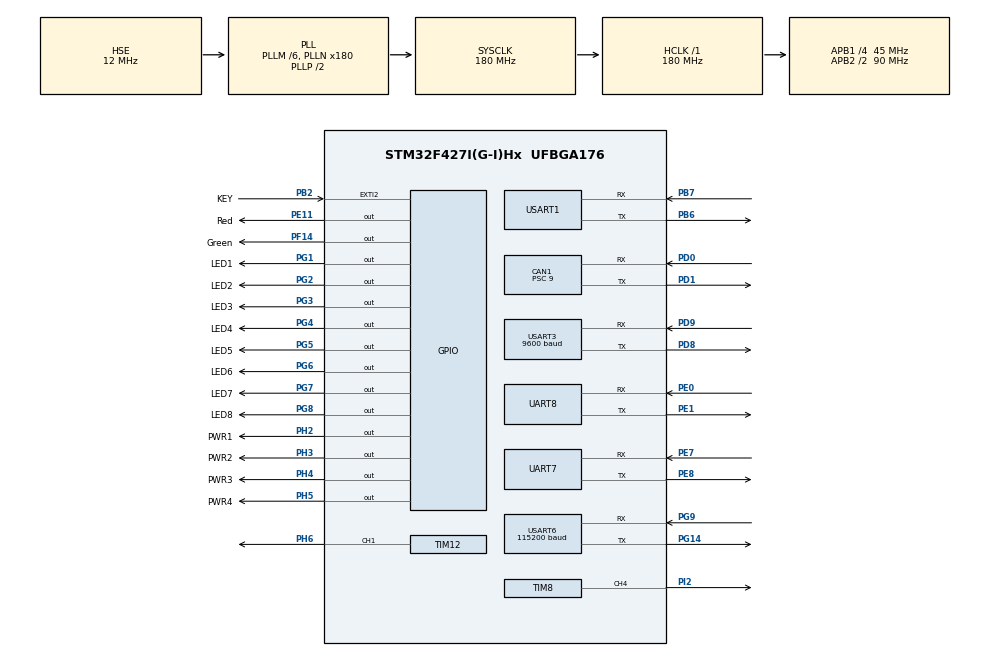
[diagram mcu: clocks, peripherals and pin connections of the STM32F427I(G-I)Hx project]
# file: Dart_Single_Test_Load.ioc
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CAN1.ABOM=ENABLE
CAN1.BS1=CAN_BS1_2TQ
CAN1.BS2=CAN_BS2_2TQ
CAN1.CalculateBaudRate=1000000
CAN1.CalculateTimeBit=1000
CAN1.CalculateTimeQuantum=200.0
CAN1.Prescaler=9
Dma.Request0=UART7_RX
Dma.Request1=UART7_TX
Dma.Request2=USART3_TX
Dma.Request3=USART6_RX
Dma.UART7_RX.0.Direction=DMA_PERIPH_TO_MEMORY
Dma.UART7_RX.0.FIFOMode=DMA_FIFOMODE_DISABLE
Dma.UART7_RX.0.Instance=DMA1_Stream3
Dma.UART7_RX.0.MemDataAlignment=DMA_MDATAALIGN_BYTE
Dma.UART7_RX.0.MemInc=DMA_MINC_ENABLE
Dma.UART7_RX.0.Mode=DMA_NORMAL
Dma.UART7_RX.0.PeriphDataAlignment=DMA_PDATAALIGN_BYTE
Dma.UART7_RX.0.PeriphInc=DMA_PINC_DISABLE
Dma.UART7_RX.0.Priority=DMA_PRIORITY_LOW
Dma.UART7_TX.1.Direction=DMA_MEMORY_TO_PERIPH
Dma.UART7_TX.1.FIFOMode=DMA_FIFOMODE_DISABLE
Dma.UART7_TX.1.Instance=DMA1_Stream1
Dma.UART7_TX.1.MemDataAlignment=DMA_MDATAALIGN_BYTE
Dma.UART7_TX.1.MemInc=DMA_MINC_ENABLE
Dma.UART7_TX.1.Mode=DMA_NORMAL
Dma.UART7_TX.1.PeriphDataAlignment=DMA_PDATAALIGN_BYTE
Dma.UART7_TX.1.PeriphInc=DMA_PINC_DISABLE
Dma.UART7_TX.1.Priority=DMA_PRIORITY_LOW
Dma.USART3_TX.2.Direction=DMA_MEMORY_TO_PERIPH
Dma.USART3_TX.2.FIFOMode=DMA_FIFOMODE_DISABLE
Dma.USART3_TX.2.Instance=DMA1_Stream4
Dma.USART3_TX.2.MemDataAlignment=DMA_MDATAALIGN_BYTE
Dma.USART3_TX.2.MemInc=DMA_MINC_ENABLE
Dma.USART3_TX.2.Mode=DMA_NORMAL
Dma.USART3_TX.2.PeriphDataAlignment=DMA_PDATAALIGN_BYTE
Dma.USART3_TX.2.PeriphInc=DMA_PINC_DISABLE
Dma.USART3_TX.2.Priority=DMA_PRIORITY_LOW
Dma.USART6_RX.3.Direction=DMA_PERIPH_TO_MEMORY
Dma.USART6_RX.3.FIFOMode=DMA_FIFOMODE_DISABLE
Dma.USART6_RX.3.Instance=DMA2_Stream1
Dma.USART6_RX.3.MemDataAlignment=DMA_MDATAALIGN_BYTE
Dma.USART6_RX.3.MemInc=DMA_MINC_ENABLE
Dma.USART6_RX.3.Mode=DMA_NORMAL
Dma.USART6_RX.3.PeriphDataAlignment=DMA_PDATAALIGN_BYTE
Dma.USART6_RX.3.PeriphInc=DMA_PINC_DISABLE
Dma.USART6_RX.3.Priority=DMA_PRIORITY_LOW
FREERTOS.Tasks01=defaultTask,24,128,StartDefaultTask,Default,NULL,Dynamic,NULL,NULL
FREERTOS.configENABLE_FPU=1
Mcu.Family=STM32F4
Mcu.Name=STM32F427I(G-I)Hx
Mcu.Package=UFBGA176
NVIC.CAN1_RX0_IRQn=true\:5\:0\:false\:false\:true\:true\:true\:true\:true
NVIC.CAN1_RX1_IRQn=true\:5\:0\:false\:false\:true\:true\:true\:true\:true
NVIC.CAN1_SCE_IRQn=true\:5\:0\:false\:false\:true\:true\:true\:true\:true
NVIC.CAN1_TX_IRQn=true\:5\:0\:false\:false\:true\:true\:true\:true\:true
NVIC.DMA1_Stream1_IRQn=true\:5\:0\:false\:false\:true\:true\:false\:true\:true
NVIC.DMA1_Stream3_IRQn=true\:5\:0\:false\:false\:true\:true\:false\:true\:true
NVIC.DMA1_Stream4_IRQn=true\:5\:0\:false\:false\:true\:true\:false\:true\:true
NVIC.DMA2_Stream1_IRQn=true\:5\:0\:false\:false\:true\:true\:false\:true\:true
NVIC.PriorityGroup=NVIC_PRIORITYGROUP_4
NVIC.TIM4_IRQn=true\:0\:0\:true\:false\:true\:false\:false\:true\:true
NVIC.TimeBase=TIM4_IRQn
NVIC.TimeBaseIP=TIM4
NVIC.UART7_IRQn=true\:5\:0\:false\:false\:true\:true\:true\:true\:true
NVIC.UART8_IRQn=true\:5\:0\:false\:false\:true\:true\:true\:true\:true
NVIC.USART3_IRQn=true\:5\:0\:false\:false\:true\:true\:true\:true\:true
NVIC.USART6_IRQn=true\:5\:0\:false\:false\:true\:true\:true\:true\:true
PA13.Mode=Serial_Wire
PA13.Signal=SYS_JTMS-SWDIO
PA14.Mode=Serial_Wire
PA14.Signal=SYS_JTCK-SWCLK
PB2/BOOT1.GPIO_Label=KEY
PB2/BOOT1.GPIO_ModeDefaultEXTI=GPIO_MODE_IT_RISING
PB2/BOOT1.GPIO_PuPd=GPIO_PULLDOWN
PB2/BOOT1.Signal=GPXTI2
PB6.Mode=Asynchronous
PB6.Signal=USART1_TX
PB7.Mode=Asynchronous
PB7.Signal=USART1_RX
PC14/OSC32_IN.Mode=LSE-External-Oscillator
PC14/OSC32_IN.Signal=RCC_OSC32_IN
PC15/OSC32_OUT.Mode=LSE-External-Oscillator
PC15/OSC32_OUT.Signal=RCC_OSC32_OUT
PD0.Mode=CAN_Activate
PD0.Signal=CAN1_RX
PD1.Mode=CAN_Activate
PD1.Signal=CAN1_TX
PD8.Mode=Asynchronous
PD8.Signal=USART3_TX
PD9.Mode=Asynchronous
PD9.Signal=USART3_RX
PE0.Mode=Asynchronous
PE0.Signal=UART8_RX
PE1.Mode=Asynchronous
PE1.Signal=UART8_TX
PE11.GPIO_Label=Red
PE11.GPIO_PuPd=GPIO_PULLDOWN
PE11.PinState=GPIO_PIN_SET
PE11.Signal=GPIO_Output
PE7.Mode=Asynchronous
PE7.Signal=UART7_RX
PE8.Mode=Asynchronous
PE8.Signal=UART7_TX
PF14.GPIO_Label=Green
PF14.GPIO_PuPd=GPIO_PULLDOWN
PF14.GPIO_Speed=GPIO_SPEED_FREQ_LOW
PF14.PinState=GPIO_PIN_SET
PF14.Signal=GPIO_Output
PG1.GPIO_Label=LED1
PG1.GPIO_PuPd=GPIO_PULLDOWN
PG1.PinState=GPIO_PIN_SET
PG1.Signal=GPIO_Output
PG14.Mode=Asynchronous
PG14.Signal=USART6_TX
PG2.GPIO_Label=LED2
PG2.GPIO_PuPd=GPIO_PULLDOWN
PG2.PinState=GPIO_PIN_SET
PG2.Signal=GPIO_Output
PG3.GPIO_Label=LED3
PG3.GPIO_PuPd=GPIO_PULLDOWN
PG3.PinState=GPIO_PIN_SET
PG3.Signal=GPIO_Output
PG4.GPIO_Label=LED4
PG4.GPIO_PuPd=GPIO_PULLDOWN
PG4.PinState=GPIO_PIN_SET
PG4.Signal=GPIO_Output
PG5.GPIO_Label=LED5
PG5.GPIO_PuPd=GPIO_PULLDOWN
PG5.PinState=GPIO_PIN_SET
PG5.Signal=GPIO_Output
PG6.GPIO_Label=LED6
PG6.GPIO_PuPd=GPIO_PULLDOWN
PG6.PinState=GPIO_PIN_SET
PG6.Signal=GPIO_Output
PG7.GPIO_Label=LED7
PG7.GPIO_PuPd=GPIO_PULLDOWN
PG7.PinState=GPIO_PIN_SET
PG7.Signal=GPIO_Output
PG8.GPIO_Label=LED8
PG8.GPIO_PuPd=GPIO_PULLDOWN
PG8.PinState=GPIO_PIN_SET
PG8.Signal=GPIO_Output
PG9.Mode=Asynchronous
PG9.Signal=USART6_RX
PH0/OSC_IN.Mode=HSE-External-Oscillator
PH0/OSC_IN.Signal=RCC_OSC_IN
PH1/OSC_OUT.Mode=HSE-External-Oscillator
PH1/OSC_OUT.Signal=RCC_OSC_OUT
PH2.GPIO_Label=PWR1
PH2.GPIO_ModeDefaultOutputPP=GPIO_MODE_OUTPUT_PP
PH2.GPIO_PuPd=GPIO_PULLDOWN
PH2.Signal=GPIO_Output
PH3.GPIO_Label=PWR2
PH3.GPIO_PuPd=GPIO_PULLDOWN
PH3.Signal=GPIO_Output
PH4.GPIO_Label=PWR3
PH4.GPIO_PuPd=GPIO_PULLDOWN
PH4.Signal=GPIO_Output
PH5.GPIO_Label=PWR4
PH5.GPIO_PuPd=GPIO_PULLDOWN
PH5.Signal=GPIO_Output
PH6.Signal=S_TIM12_CH1
PI2.Signal=S_TIM8_CH4
ProjectManager.HeapSize=0x200
ProjectManager.StackSize=0x400
ProjectManager.TargetToolchain=MDK-ARM V5.32
RCC.48MHZClocksFreq_Value=90000000
RCC.AHBFreq_Value=180000000
RCC.APB1CLKDivider=RCC_HCLK_DIV4
RCC.APB1Freq_Value=45000000
RCC.APB1TimFreq_Value=90000000
RCC.APB2CLKDivider=RCC_HCLK_DIV2
RCC.APB2Freq_Value=90000000
RCC.APB2TimFreq_Value=180000000
RCC.CortexFreq_Value=180000000
RCC.HCLKFreq_Value=180000000
RCC.HSE_VALUE=12000000
RCC.HSI_VALUE=16000000
RCC.PLLM=6
RCC.PLLN=180
RCC.PLLSourceVirtual=RCC_PLLSOURCE_HSE
RCC.SYSCLKFreq_VALUE=180000000
RCC.SYSCLKSource=RCC_SYSCLKSOURCE_PLLCLK
RCC.VCOOutputFreq_Value=360000000
SH.S_TIM12_CH1.0=TIM12_CH1,PWM Generation1 CH1
SH.S_TIM8_CH4.0=TIM8_CH4,PWM Generation4 CH4
TIM12.AutoReloadPreload=TIM_AUTORELOAD_PRELOAD_ENABLE
TIM12.Channel-PWM\ Generation1\ CH1=TIM_CHANNEL_1
TIM12.Period=9000 - 1
TIM12.Pulse-PWM\ Generation1\ CH1=2699
TIM8.AutoReloadPreload=TIM_AUTORELOAD_PRELOAD_ENABLE
TIM8.Channel-PWM\ Generation4\ CH4=TIM_CHANNEL_4
TIM8.Period=20000 - 1
TIM8.Prescaler=180 - 1
TIM8.Pulse-PWM\ Generation4\ CH4=2500
UART7.VirtualMode=Asynchronous
UART8.VirtualMode=Asynchronous
USART1.VirtualMode=VM_ASYNC
USART3.BaudRate=9600
USART3.VirtualMode=VM_ASYNC
USART6.BaudRate=115200
USART6.VirtualMode=VM_ASYNC
VP_FREERTOS_VS_CMSIS_V2.Mode=CMSIS_V2
VP_SYS_VS_tim4.Mode=TIM4
VP_TIM12_VS_ClockSourceINT.Mode=Internal
VP_TIM8_VS_ClockSourceINT.Mode=Internal
board=custom

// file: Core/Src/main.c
/* USER CODE BEGIN Header */
/**
 ******************************************************************************
 * @file           : main.c
 * @brief          : Main program body
 ******************************************************************************
 * @attention
 *
 * Copyright (c) 2025 STMicroelectronics.
 * All rights reserved.
 *
 * This software is licensed under terms that can be found in the LICENSE file
 * in the root directory of this software component.
 * If no LICENSE file comes with this software, it is provided AS-IS.
 *
 ******************************************************************************
 */
/* USER CODE END Header */
#include "main.h"
#include "cmsis_os.h"
#include "can.h"
#include "dma.h"
#include "tim.h"
#include "usart.h"
#include "gpio.h"

/* USER CODE BEGIN Includes */
#include "UserTask.h"
#include "HX06L.h"
/* USER CODE END Includes */

void SystemClock_Config(void);
void MX_FREERTOS_Init(void);

/* USER CODE BEGIN 0 */

// 测试函数：使用阻塞方式直接发送舵机指令
// 无MCU驱动板协议：0x55 0x55 | ID | Length | Cmd | Param... | CRC
void Test_Servo_Blocking(void)
{
  uint8_t data[16];
  uint8_t crc;

  // ============ 第一步：舵机上电 (Load) ============
  // 指令：SERVO_LOAD_OR_UNLOAD_WRITE (cmd=31, length=4)
  data[0] = 0x55; // 帧头
  data[1] = 0x55; // 帧头
  data[2] = 0x01; // ID = 1
  data[3] = 0x04; // Length = 4
  data[4] = 31;   // Cmd = SERVO_LOAD_OR_UNLOAD_WRITE
  data[5] = 0x01; // 参数: 1 = 上电

  // 计算 CRC (从 ID 到最后一个参数)
  crc = data[2] + data[3] + data[4] + data[5];
  crc = ~crc;
  data[6] = crc;

  HAL_UART_Transmit(&huart3, data, 7, 100);
  HAL_Delay(100); // 等待舵机处理

  // ============ 第二步：控制舵机转动到位置500 ============
  // 指令：SERVO_MOVE_TIME_WRITE (cmd=1, length=7)
  data[0] = 0x55; // 帧头
  data[1] = 0x55; // 帧头
  data[2] = 0x01; // ID = 1
  data[3] = 0x07; // Length = 7
  data[4] = 1;    // Cmd = SERVO_MOVE_TIME_WRITE
  data[5] = 0xF4; // 角度低字节 (500 = 0x01F4)
  data[6] = 0x01; // 角度高字节
  data[7] = 0xE8; // 时间低字节 (1000ms = 0x03E8)
  data[8] = 0x03; // 时间高字节

  crc = data[2] + data[3] + data[4] + data[5] + data[6] + data[7] + data[8];
  crc = ~crc;
  data[9] = crc;

  HAL_UART_Transmit(&huart3, data, 10, 100);
}

/* USER CODE END 0 */

int main(void)
{

  /* MCU Configuration--------------------------------------------------------*/

  /* Reset of all peripherals, Initializes the Flash interface and the Systick. */
  HAL_Init();

  /* Configure the system clock */
  SystemClock_Config();

  /* Initialize all configured peripherals */
  MX_GPIO_Init();
  MX_DMA_Init();
  MX_CAN1_Init();
  MX_UART7_Init();
  MX_USART3_UART_Init();
  MX_USART6_UART_Init();
  MX_UART8_Init();
  MX_TIM12_Init();
  MX_USART1_UART_Init();
  MX_TIM8_Init();
  /* USER CODE BEGIN 2 */

  // 对各个外设进行初始化
  Module_Init();

  /* USER CODE END 2 */

  /* Init scheduler */
  osKernelInitialize();  /* Call init function for freertos objects (in cmsis_os2.c) */
  MX_FREERTOS_Init();

  /* Start scheduler */
  osKernelStart();

  /* We should never get here as control is now taken by the scheduler */

  /* Infinite loop */
  /* USER CODE BEGIN WHILE */
  while (1)
  {
    // ====== 方式二测试：延时控制（同步运动）======

    // 动作1：三个舵机同步移动到不同位置
    // 先设置目标位置（舵机不动）
    // ServoMoveTimeWaitWrite(1, 500, 1000); // 舵机1 -> 120°
    // ServoMoveTimeWaitWrite(2, 300, 1000);   // 舵机2 -> 72°
    // ServoMoveTimeWaitWrite(3, 700, 1000);   // 舵机3 -> 168°
    // HAL_Delay(10);                        // 短暂延时确保指令发送完成
    // // 同时启动所有舵机
    // ServoStart(1);
    // ServoStart(2);
    // ServoStart(3);
    // HAL_Delay(1200);                    // 等待运动完成        // 动作2：三个舵机同步回到起始位置
    // ServoMoveTimeWaitWrite(1, 0, 1000); // 舵机1 -> 0°    ServoMoveTimeWaitWrite(2, 0, 1000);     // 舵机2 -> 0°
    // ServoMoveTimeWaitWrite(3, 0, 1000); // 舵机3 -> 0°
    // HAL_Delay(10);

    // ServoStart(1);
    // ServoStart(2);
    // ServoStart(3);
    // HAL_Delay(1200);

    // // 动作3：三个舵机同步移动到最大位置
    // ServoMoveTimeWaitWrite(1, 1000, 1500); // 舵机1 -> 240°
    // ServoMoveTimeWaitWrite(2, 1000, 1500); // 舵机2 -> 240°
    // ServoMoveTimeWaitWrite(3, 1000, 1500); // 舵机3 -> 240°
    // HAL_Delay(10);

    // ServoStart(1);
    // ServoStart(2);
    // ServoStart(3);
    // HAL_Delay(1700);

    // // 动作4：三个舵机同步回中间位置
    // ServoMoveTimeWaitWrite(1, 500, 1000); // 舵机1 -> 120°
    // ServoMoveTimeWaitWrite(2, 500, 1000); // 舵机2 -> 120°
    // ServoMoveTimeWaitWrite(3, 500, 1000); // 舵机3 -> 120°
    // HAL_Delay(10);

    // ServoStart(1);
    // ServoStart(2);
    // ServoStart(3);
    // HAL_Delay(1200);
    // ServoInit();
    // HAL_Delay(100);
    /* USER CODE END WHILE */

  }
}

void SystemClock_Config(void)
{
  RCC_OscInitTypeDef RCC_OscInitStruct = {0};
  RCC_ClkInitTypeDef RCC_ClkInitStruct = {0};

  /** Configure the main internal regulator output voltage
  */
  __HAL_RCC_PWR_CLK_ENABLE();
  __HAL_PWR_VOLTAGESCALING_CONFIG(PWR_REGULATOR_VOLTAGE_SCALE1);

  /** Initializes the RCC Oscillators according to the specified parameters
  * in the RCC_OscInitTypeDef structure.
  */
  RCC_OscInitStruct.OscillatorType = RCC_OSCILLATORTYPE_HSE;
  RCC_OscInitStruct.HSEState = RCC_HSE_ON;
  RCC_OscInitStruct.PLL.PLLState = RCC_PLL_ON;
  RCC_OscInitStruct.PLL.PLLSource = RCC_PLLSOURCE_HSE;
  RCC_OscInitStruct.PLL.PLLM = 6;
  RCC_OscInitStruct.PLL.PLLN = 180;
  RCC_OscInitStruct.PLL.PLLP = RCC_PLLP_DIV2;
  RCC_OscInitStruct.PLL.PLLQ = 4;
  if (HAL_RCC_OscConfig(&RCC_OscInitStruct) != HAL_OK)
  {
    Error_Handler();
  }

  /** Activate the Over-Drive mode
  */
  if (HAL_PWREx_EnableOverDrive() != HAL_OK)
  {
    Error_Handler();
  }

  /** Initializes the CPU, AHB and APB buses clocks
  */
  RCC_ClkInitStruct.ClockType = RCC_CLOCKTYPE_HCLK|RCC_CLOCKTYPE_SYSCLK
                              |RCC_CLOCKTYPE_PCLK1|RCC_CLOCKTYPE_PCLK2;
  RCC_ClkInitStruct.SYSCLKSource = RCC_SYSCLKSOURCE_PLLCLK;
  RCC_ClkInitStruct.AHBCLKDivider = RCC_SYSCLK_DIV1;
  RCC_ClkInitStruct.APB1CLKDivider = RCC_HCLK_DIV4;
  RCC_ClkInitStruct.APB2CLKDivider = RCC_HCLK_DIV2;

  if (HAL_RCC_ClockConfig(&RCC_ClkInitStruct, FLASH_LATENCY_5) != HAL_OK)
  {
    Error_Handler();
  }
}

void HAL_TIM_PeriodElapsedCallback(TIM_HandleTypeDef *htim)
{
  if (htim->Instance == TIM4)
  {
    HAL_IncTick();
  }
}

void Error_Handler(void)
{
  __disable_irq();
  while (1)
  {
  }
}

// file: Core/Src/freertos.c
/* USER CODE BEGIN Header */
/**
 ******************************************************************************
 * File Name          : freertos.c
 * Description        : Code for freertos applications
 ******************************************************************************
 * @attention
 *
 * Copyright (c) 2025 STMicroelectronics.
 * All rights reserved.
 *
 * This software is licensed under terms that can be found in the LICENSE file
 * in the root directory of this software component.
 * If no LICENSE file comes with this software, it is provided AS-IS.
 *
 ******************************************************************************
 */
/* USER CODE END Header */

#include "FreeRTOS.h"
#include "task.h"
#include "main.h"
#include "cmsis_os.h"

/* USER CODE BEGIN Includes */
#include "UserTask.h"
#include <stdio.h>
#include <string.h>
#include "semphr.h"
#include <arm_math.h>
#include "ia6b_task.h"
/* USER CODE END Includes */

/* USER CODE BEGIN Variables */
static StaticSemaphore_t g_xRmBufferMutexBuffer;
SemaphoreHandle_t g_xRmBufferMutexHandle;
float g_testStoreL = 0.0f;
float g_testStoreR = 0.0f;
// extern float sine_output;
// extern float trap_output;
extern MotorManager_t MotorManager;
extern float RmMotorAngleData;
extern float RmMotorSpeedData;

/* USER CODE END Variables */
/* Definitions for defaultTask */
osThreadId_t defaultTaskHandle;
const osThreadAttr_t defaultTask_attributes = {
    .name = "defaultTask",
    .stack_size = 128 * 4,
    .priority = (osPriority_t)osPriorityNormal,
};

/* USER CODE BEGIN FunctionPrototypes */
static void DefaultTask_Control3508(void);
static void DefaultTask_Control2006(void);
static void DefaultTask_Control6020(void);
float a = -1000.0f;
/* USER CODE END FunctionPrototypes */

void StartDefaultTask(void *argument);

void MX_FREERTOS_Init(void); /* (MISRA C 2004 rule 8.1) */

void MX_FREERTOS_Init(void)
{

  /* USER CODE BEGIN RTOS_MUTEX */
  /* add mutexes, ... */
  g_xRmBufferMutexHandle = xSemaphoreCreateMutexStatic(&g_xRmBufferMutexBuffer);
  /* USER CODE END RTOS_MUTEX */

  /* Create the thread(s) */
  /* creation of defaultTask */
  defaultTaskHandle = osThreadNew(StartDefaultTask, NULL, &defaultTask_attributes);

  /* USER CODE BEGIN RTOS_THREADS */
  /* add threads, ... */

  // 飞镖任务初始化
  // TaskInitFunc();

  /* 正弦波生成 */
  // TaskHandle_t SineWaveTaskHandle = NULL;
  // xTaskCreate(SineWaveTask, "SinWaveOut", 64 * 4, NULL, osPriorityBelowNormal7, &SineWaveTaskHandle);

  /* 阶跃波生成 */
  // TaskHandle_t TrapWaveTaskHandle = NULL;
  // xTaskCreate(TrapWaveTask, "TrapWaveOut", 64 * 4, NULL, osPriorityBelowNormal7, &TrapWaveTaskHandle);

  /* USER CODE END RTOS_THREADS */

}

void StartDefaultTask(void *argument)
{
  /* USER CODE BEGIN StartDefaultTask */
#if ENABLE_DEFAULTTASK_RC_DEBUG
  vTaskDelay(2000);
  IA6BTask_Init();

#endif
  /* Infinite loop */
  for (;;)
  {
#if ENABLE_DEFAULTTASK_RC_DEBUG
    IA6BTask_ProcessAndControl();
    DefaultTask_Control3508();
    DefaultTask_Control2006();
    DefaultTask_Control6020();
    vTaskDelay(2);
#else
    HAL_GPIO_TogglePin(Green_GPIO_Port, Green_Pin); // 1500
    vTaskDelay(250);
#endif
  }
  /* USER CODE END StartDefaultTask */
}

/* USER CODE BEGIN Application */
static void DefaultTask_Control3508(void)
{
#if ENABLE_RC_DEBUG_3508
#if ENABLE_RC_DEBUG_3508_STORE_LEFT
  g_testStoreL = MotorManager.MotorList[3].motor_data.solved_data[3];
  g_testStoreR = MotorManager.MotorList[2].motor_data.solved_data[3];
  RmMotorAngleData = g_RcDebug3508LeftPosDeg;
  RmMotorSpeedData = g_RcDebug3508LeftSpeedRpm;

#if LOAD3508_OUTPUT_MODE == LOAD3508_OUTPUT_CASCADE_POS
  if (g_RcDebug3508PosTargetInitialized)
  {
    /* 同步 PID：以两侧真实位置为输入，输出一个 correction。
     * 左 = base + correction，右 = base - correction；
     * 按 PID 惯例 error = 0 - (L - R)，L 超前时 correction 为负，
     * Left 新目标自动减小、Right 新目标自动增大，拉回同步。
     * 修正后再送给串级 PID 进行真实跟随。 */
    float sync_correction = RM_Motor_UpdateStoreSync(g_RcDebug3508LeftPosDeg,
                                                     g_RcDebug3508RightPosDeg);
    g_RcDebug3508SyncErrorDeg = g_RmStoreSyncErrorDeg;
    g_RcDebug3508SyncPidOutputDeg = g_RmStoreSyncPidOutputDeg;

    float left_target_synced = g_RcDebug3508LeftTargetPosDeg + sync_correction;
    float right_target_synced = g_RcDebug3508RightTargetPosDeg - sync_correction;

    // reverse=1 的那一侧输出电流在 RmMotorSendCfg 里自动翻向。
    RmMotorPID_Calc(RM_3508_STORE_LEFT, left_target_synced);
    RmMotorPID_Calc(RM_3508_STORE_RIGHT, right_target_synced);
  }
  else
  {
    RmMotorSendCfg(RM_3508_STORE_LEFT, 0);
    RmMotorSendCfg(RM_3508_STORE_RIGHT, 0);
  }
#else
  // 速度环联调：两侧同时收到相同的逻辑目标转速。
  // reverse=1 的那一侧会在 RmMotorSendCfg 里自动翻向，
  // 所以两台电机物理旋向互为镜像，适合传送带式并联调参。
  g_testStoreL = MotorManager.MotorList[3].motor_data.solved_data[4];
  g_testStoreR = MotorManager.MotorList[2].motor_data.solved_data[4];
  RmMotorSpeedPID_Calc(RM_3508_STORE_LEFT, g_RcDebug3508TargetSpeedRpm);
  RmMotorSpeedPID_Calc(RM_3508_STORE_RIGHT, g_RcDebug3508TargetSpeedRpm);
#endif
#elif ENABLE_RC_DEBUG_3508_STORE_RIGHT
  RmMotorAngleData = g_RcDebug3508RightPosDeg;
  RmMotorSpeedData = g_RcDebug3508RightSpeedRpm;

#if LOAD3508_OUTPUT_MODE == LOAD3508_OUTPUT_CASCADE_POS
  if (g_RcDebug3508PosTargetInitialized)
  {
    RmMotorPID_Calc(RM_3508_STORE_RIGHT, g_RcDebug3508RightTargetPosDeg);
  }
  else
  {
    RmMotorSendCfg(RM_3508_STORE_RIGHT, 0);
  }
#else
  RmMotorSpeedPID_Calc(RM_3508_STORE_RIGHT, g_RcDebug3508TargetSpeedRpm);
#endif
#elif ENABLE_RC_DEBUG_3508_STORE_BOTH
  RmMotorAngleData = g_RcDebug3508SyncErrorDeg;
  RmMotorSpeedData = g_RcDebug3508SyncPidOutputDeg;

#if LOAD3508_OUTPUT_MODE == LOAD3508_OUTPUT_CASCADE_POS
  if (g_RcDebug3508PosTargetInitialized)
  {
    RmMotorPID_Calc(RM_3508_STORE_LEFT, g_RcDebug3508LeftTargetPosDeg);
    RmMotorPID_Calc(RM_3508_STORE_RIGHT, g_RcDebug3508RightTargetPosDeg);
  }
  else
  {
    RmMotorSendCfg(RM_3508_STORE_LEFT, 0);
    RmMotorSendCfg(RM_3508_STORE_RIGHT, 0);
  }
#else
  RmMotorSpeedPID_Calc(RM_3508_STORE_LEFT, g_RcDebug3508TargetSpeedRpm);
  RmMotorSpeedPID_Calc(RM_3508_STORE_RIGHT, g_RcDebug3508TargetSpeedRpm);
#endif
#endif
#endif
}

static void DefaultTask_Control2006(void)
{
#if ENABLE_RC_DEBUG_2006
  static uint8_t s_2006_limit_inited = 0U;
  static float s_2006_zero_pos_deg = 0.0f;

  float motor_2006_pos_deg_abs = Motor_GetTotalAngle(RM_2006_TRIGGER);
  float target_pos_rel_deg = g_RcDebug2006TargetPosDeg;
  float target_pos_abs_deg = 0.0f;

  if (s_2006_limit_inited == 0U)
  {
    s_2006_zero_pos_deg = motor_2006_pos_deg_abs;
    s_2006_limit_inited = 1U;
  }
  target_pos_abs_deg = s_2006_zero_pos_deg + target_pos_rel_deg;

  float motor_2006_speed_rpm = Motor_GetSpeedRPM(RM_2006_TRIGGER);
  g_RcDebug2006SpeedRpm = motor_2006_speed_rpm;
  RmMotorPID_Calc(RM_2006_TRIGGER, target_pos_abs_deg);

#if (ENABLE_RC_DEBUG_3508 == 0U)
  RmMotorSpeedData = motor_2006_speed_rpm;
  RmMotorAngleData = motor_2006_pos_deg_abs;
#endif
#endif
}

static void DefaultTask_Control6020(void)
{
#if ENABLE_RC_DEBUG_6020
  float motor_6020_pos_deg_abs = Motor_GetTotalAngle(RM_6020_YAW);
  float motor_6020_speed_rpm = Motor_GetSpeedRPM(RM_6020_YAW);

  g_RcDebug6020SpeedRpm = motor_6020_speed_rpm;
#if LOAD6020_OUTPUT_MODE == LOAD6020_OUTPUT_CASCADE_POS
  if (g_RcDebug6020PosTargetInitialized)
  {
    RmMotorPID_Calc(RM_6020_YAW, g_RcDebug6020TargetPosDeg);
  }
  else
  {
    RmMotorSendCfg(RM_6020_YAW, 0);
  }
#else
  RmMotorSpeedPID_Calc(RM_6020_YAW, g_RcDebug6020TargetSpeedRpm);
#endif

#if (ENABLE_RC_DEBUG_3508 == 0U)
  RmMotorSpeedData = motor_6020_speed_rpm;
  RmMotorAngleData = motor_6020_pos_deg_abs;
#endif
#endif
}

/* USER CODE END Application */
